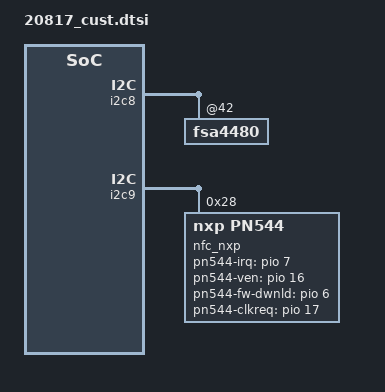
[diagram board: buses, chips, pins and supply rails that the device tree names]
// T0 to T1
// 1) Audio PA IIC Address 0x35 to 0x37
// 2) OIS SPI - GPIO 168-171 to GPIO 103-106

&audio_extend {
	oplus,speaker-codec-name = "tfa98xx.8-0034","tfa98xx.8-0035";
	oplus,speaker-codec-dai-name = "tfa98xx-aif-8-34","tfa98xx-aif-8-35";
};

&tfa98xx_L {
	reg = <0x35>;
	tfa_fw_name = "tfa98xx_t0.cnt";
};

&tfa98xx_R {
	tfa_fw_name = "tfa98xx_t0.cnt";
};

&fan53870 {
    reg = <0x20>;
};


&i2c8 {
	fsa4480@42 {
		fsa4480,hs-det-level = <1>;
	};
};

/delete-node/ &i2c7_i2c_state;
/delete-node/ &i2c7_output_low_state;

&i2c7 {
	pinctrl-names = "i2c-state", "output-low-state";
	pinctrl-0 = <&i2c7_i2c_state>;
	pinctrl-1 = <&i2c7_output_low_state>;
};
&pio {
	i2c7_i2c_state: i2c7_sda_i2c_state {
		pins_cmd_dat {
			pinmux = <PINMUX_GPIO125__FUNC_SDA7>;
			slew-rate = <0>;
			bias-pull-up;
		};
	};
	i2c7_output_low_state: i2c7_sda_output_low_state {
		pins_cmd_dat {
			pinmux = <PINMUX_GPIO125__FUNC_GPIO125>;
			slew-rate = <1>;
			output-low;
		};
	};
};

&i2c9 {
       status = "okay";
       nfc_nxp@28 {
               compatible = "nxp,pn544";
               reg = <0x28>;
               nxp,pn544-irq = <&pio 7 0x0>;
               nxp,pn544-ven = <&pio 16 0x0>;
               nxp,pn544-fw-dwnld = <&pio 6 0x0>;
               nxp,pn544-clkreq = <&pio 17 0x0>;
               interrupt-parent = <&pio>;
       };
};
//#endif /* OPLUS_FEATURE_NFC_BRINGUP */

